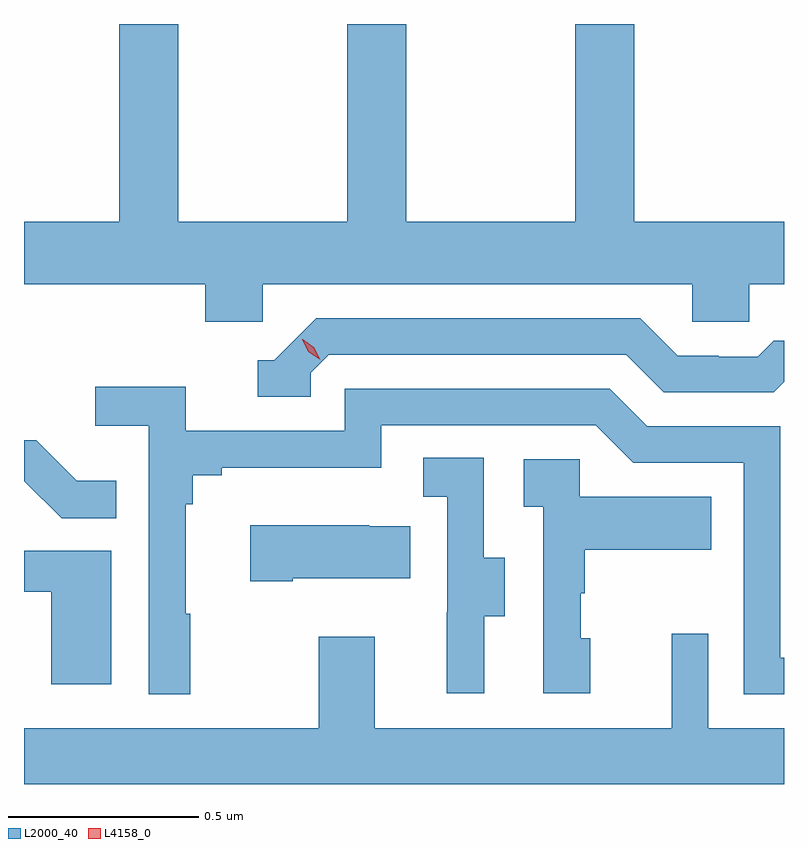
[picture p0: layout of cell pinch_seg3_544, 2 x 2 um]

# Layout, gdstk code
import gdstk
lib = gdstk.Library(unit=1e-6, precision=1e-09)
def P(c, l, *ps):  # polygons
    for p in ps: c.add(gdstk.Polygon(p, *l))
L2000_40 = (2000, 40)
L4158_0 = (4158, 0)

pinch_seg3_544 = lib.new_cell('pinch_seg3_544')
P(pinch_seg3_544, L2000_40, [(1120.944,706.244),(1122.075,706.244),(1122.075,706.146),(1122.225,706.146),(1122.225,706.244),(1122.316,706.244),(1122.316,706.408),(1121.922,706.408),(1121.922,706.929),(1121.767,706.929),(1121.767,706.408),(1121.322,706.408),(1121.322,706.929),(1121.167,706.929),(1121.167,706.408),(1120.722,706.408),(1120.722,706.929),(1120.567,706.929),(1120.567,706.408),(1120.316,706.408),(1120.316,706.244),(1120.793,706.244),(1120.793,706.146),(1120.944,706.146)],
  [(1121.07,706.011),(1121.118,706.059),(1121.901,706.059),(1122,705.96),(1122.289,705.96),(1122.316,705.987),(1122.316,706.096),(1122.289,706.096),(1122.247,706.053),(1122.144,706.053),(1122.144,706.056),(1122.037,706.056),(1121.938,706.155),(1121.085,706.155),(1120.974,706.044),(1120.931,706.044),(1120.931,705.948),(1121.07,705.948)],
  [(1120.753,705.377),(1120.741,705.377),(1120.741,705.665),(1120.76,705.665),(1120.76,705.742),(1120.837,705.742),(1120.837,705.761),(1121.256,705.761),(1121.256,705.873),(1121.82,705.873),(1121.919,705.774),(1122.21,705.774),(1122.21,705.165),(1122.316,705.165),(1122.316,705.261),(1122.306,705.261),(1122.306,705.87),(1121.956,705.87),(1121.857,705.969),(1121.16,705.969),(1121.16,705.858),(1120.742,705.858),(1120.742,705.974),(1120.503,705.974),(1120.503,705.872),(1120.644,705.872),(1120.644,705.165),(1120.753,705.165)],
  [(1120.559,705.727),(1120.455,705.727),(1120.348,705.834),(1120.316,705.834),(1120.316,705.726),(1120.317,705.726),(1120.415,705.628),(1120.559,705.628)],
  [(1121.527,705.37),(1121.581,705.37),(1121.581,705.525),(1121.526,705.525),(1121.526,705.788),(1121.367,705.788),(1121.367,705.685),(1121.43,705.685),(1121.43,705.381),(1121.429,705.381),(1121.429,705.168),(1121.527,705.168)],
  [(1121.806,705.312),(1121.781,705.312),(1121.781,705.431),(1121.791,705.431),(1121.791,705.545),(1122.125,705.545),(1122.125,705.685),(1121.778,705.685),(1121.778,705.783),(1121.631,705.783),(1121.631,705.659),(1121.682,705.659),(1121.682,705.168),(1121.806,705.168)],
  [(1121.023,705.47),(1121.333,705.47),(1121.333,705.607),(1121.225,705.607),(1121.225,705.61),(1120.911,705.61),(1120.911,705.463),(1121.023,705.463)],
  [(1120.546,705.543),(1120.316,705.543),(1120.316,705.435),(1120.388,705.435),(1120.388,705.192),(1120.546,705.192)],
  [(1122.316,705.076),(1122.117,705.076),(1122.117,705.325),(1122.02,705.325),(1122.02,705.076),(1121.239,705.076),(1121.239,705.316),(1121.092,705.316),(1121.092,705.076),(1120.316,705.076),(1120.316,704.929),(1122.316,704.929)])
P(pinch_seg3_544, L4158_0, [(1121.095,706.045),(1121.064,706.066),(1121.048,706.099),(1121.048,706.099),(1121.049,706.099),(1121.079,706.079),(1121.095,706.046),(1121.095,706.045)])

lib.write_gds('pinch_seg3_544.gds')
